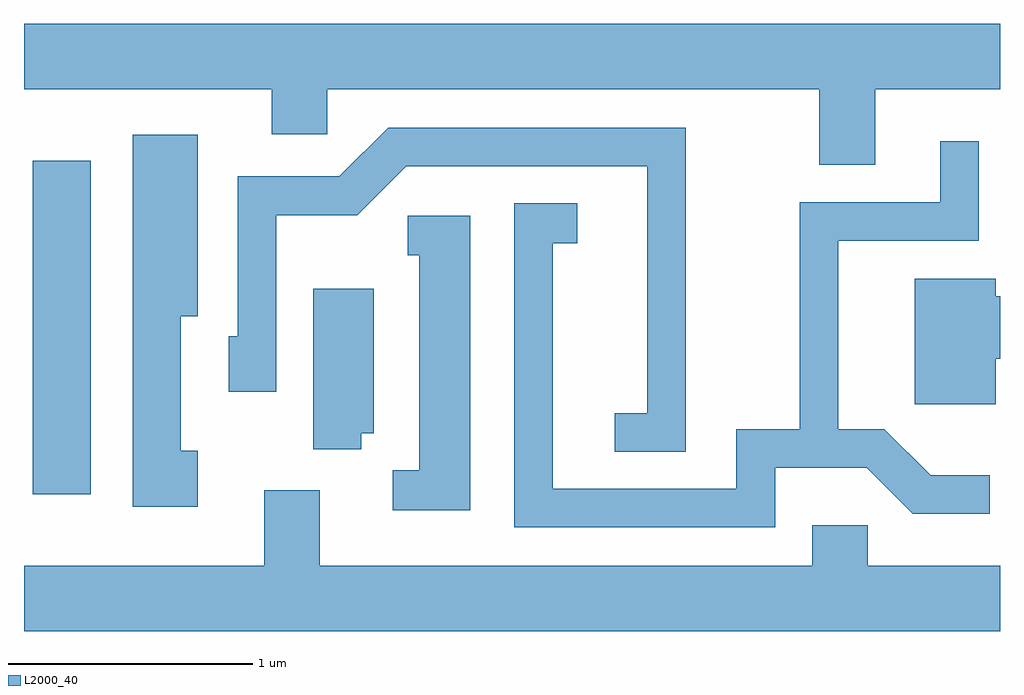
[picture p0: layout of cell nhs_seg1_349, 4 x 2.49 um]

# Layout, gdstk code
import gdstk
lib = gdstk.Library(unit=1e-6, precision=1e-09)
def R(c, l, rs):  # rectangles x0, y0, x1, y1
    for r in rs: c.add(gdstk.rectangle(r[:2], r[2:], *l))
def P(c, l, *ps):  # polygons
    for p in ps: c.add(gdstk.Polygon(p, *l))
L2000_40 = (2000, 40)

nhs_seg1_349 = lib.new_cell('nhs_seg1_349')
R(nhs_seg1_349, L2000_40, [(195.646,882.376,195.884,883.744)])
P(nhs_seg1_349, L2000_40, [(199.099,884.036),(199.611,884.036),(199.611,884.304),(195.611,884.304),(195.611,884.036),(196.626,884.036),(196.626,883.851),(196.854,883.851),(196.854,884.036),(198.871,884.036),(198.871,883.726),(199.099,883.726)],
  [(198.324,883.879),(197.104,883.879),(196.904,883.679),(196.486,883.679),(196.486,883.024),(196.451,883.024),(196.451,882.796),(196.644,882.796),(196.644,883.521),(196.977,883.521),(197.177,883.721),(198.166,883.721),(198.166,882.709),(198.033,882.709),(198.033,882.551),(198.324,882.551)],
  [(196.324,882.554),(196.254,882.554),(196.254,883.106),(196.324,883.106),(196.324,883.849),(196.056,883.849),(196.056,882.326),(196.324,882.326)],
  [(198.689,882.486),(199.064,882.486),(199.254,882.296),(199.568,882.296),(199.568,882.454),(199.327,882.454),(199.137,882.644),(198.949,882.644),(198.949,883.416),(199.524,883.416),(199.524,883.823),(199.366,883.823),(199.366,883.574),(198.791,883.574),(198.791,882.644),(198.531,882.644),(198.531,882.399),(197.779,882.399),(197.779,883.406),(197.878,883.406),(197.878,883.569),(197.621,883.569),(197.621,882.241),(198.689,882.241)],
  [(197.439,883.519),(197.183,883.519),(197.183,883.356),(197.231,883.356),(197.231,882.474),(197.123,882.474),(197.123,882.311),(197.439,882.311)],
  [(199.594,882.931),(199.611,882.931),(199.611,883.189),(199.594,883.189),(199.594,883.259),(199.261,883.259),(199.261,882.746),(199.594,882.746)],
  [(196.994,882.626),(197.044,882.626),(197.044,883.219),(196.796,883.219),(196.796,882.561),(196.994,882.561)],
  [(199.611,882.084),(199.069,882.084),(199.069,882.249),(198.841,882.249),(198.841,882.084),(196.824,882.084),(196.824,882.394),(196.596,882.394),(196.596,882.084),(195.611,882.084),(195.611,881.816),(199.611,881.816)])

lib.write_gds('nhs_seg1_349.gds')
